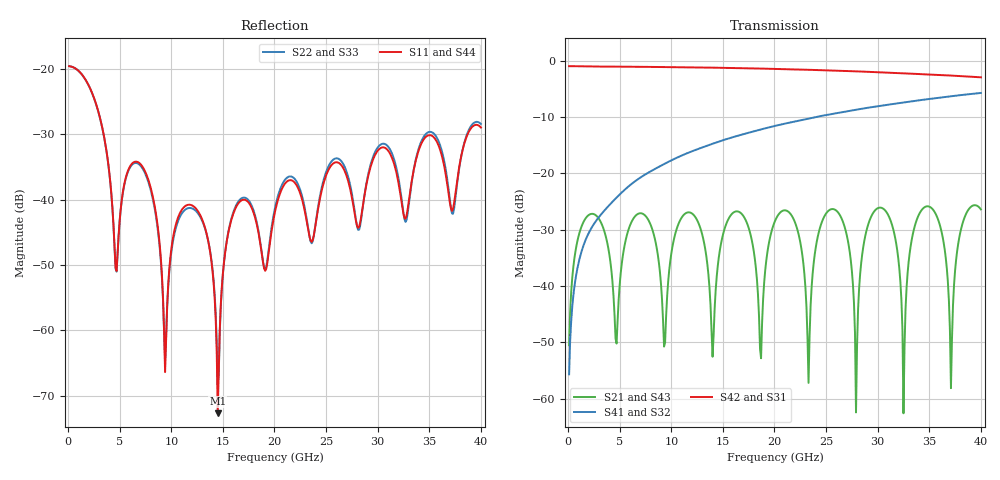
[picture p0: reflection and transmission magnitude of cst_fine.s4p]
! T_ts6_xt_ms_s10: Microstrip aggressor and victim on L1, w 0.265 mm, edge gap 1·w = 0.27 mm, 20 mm
! stackup: ThunderScope Rev5.3 6-layer (FR408HR / FR-4, from the board file)
! ports: 1 near A, 2 near B, 3 far A, 4 far B
! CST Studio Suite 2025.5 Release from 2025-05-30, time domain (FIT, hexahedral, PBA), 410652 mesh cells, 99 s
! mesh: {'lpw': 30.0, 'lpb': 30.0, 'minstep': 0.0, 'ratio': 20}; ports: port 1 (face); port 2 (face); port 3 (face); port 4 (face)
! interpolated from CST's 1001 samples to the case grid
# Hz S RI R 50
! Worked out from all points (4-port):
!   400 points, 100 MHz to 40 GHz, reference 50 ohm
!   strongest paths, dB at 100 MHz, 10.1 GHz, 20.1 GHz, 30.1 GHz, 40 GHz:
!     S42: -1.0, -1.1, -1.5, -2.1, -2.9
!     S31: -1.0, -1.1, -1.5, -2.1, -2.9
!     S41: -55.7, -17.6, -11.5, -8.1, -5.7
!     S32: -55.7, -17.6, -11.5, -8.1, -5.7
!     S21: -50.5, -33.1, -28.3, -26.1, -26.4
!     S43: -50.5, -33.1, -28.3, -26.1, -26.4
!   lowest |S11| = -72.7 dB at 14.5 GHz (marker M1), VSWR 1.00, Z = 50 - j0.0194 ohm
!   |S11| at or under -10 dB: start of sweep to end of sweep
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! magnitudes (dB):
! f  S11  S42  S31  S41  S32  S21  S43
! 100 MHz  -19.6  -1.0  -1.0  -55.7  -55.7  -50.5  -50.5
! 14.5 GHz  -72.7  -1.2  -1.2  -14.4  -14.4  -36.5  -36.5
! 26.1 GHz  -34.3  -1.8  -1.8  -9.3  -9.3  -26.8  -26.8
! 27.9 GHz  -43.3  -1.9  -1.9  -8.7  -8.7  -62.4  -62.4
! 30.6 GHz  -32.0  -2.1  -2.1  -7.9  -7.9  -26.4  -26.4
! 32.5 GHz  -42.2  -2.2  -2.2  -7.4  -7.4  -62.6  -62.6
! 40 GHz  -29.0  -2.9  -2.9  -5.7  -5.7  -26.4  -26.4
